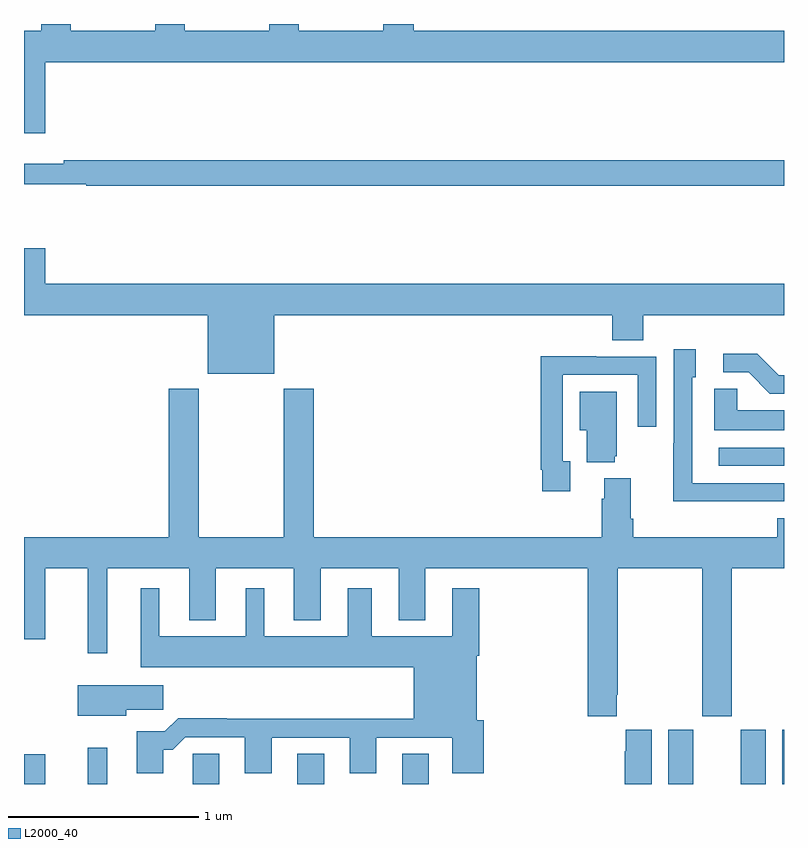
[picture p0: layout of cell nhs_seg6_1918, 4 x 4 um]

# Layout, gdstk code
import gdstk
lib = gdstk.Library(unit=1e-6, precision=1e-09)
def R(c, l, rs):  # rectangles x0, y0, x1, y1
    for r in rs: c.add(gdstk.rectangle(r[:2], r[2:], *l))
def P(c, l, *ps):  # polygons
    for p in ps: c.add(gdstk.Polygon(p, *l))
L2000_40 = (2000, 40)

nhs_seg6_1918 = lib.new_cell('nhs_seg6_1918')
R(nhs_seg6_1918, L2000_40, [(225,979.5,225.112,979.657), (225.335,979.5,225.439,979.69), (225.888,979.5,226.027,979.658), (226.439,979.5,226.579,979.658), (226.991,979.5,227.131,979.658), (228.392,979.5,228.523,979.786), (228.773,979.5,228.904,979.786), (228.992,979.5,229,979.786), (228.657,981.174,229,981.27)])
P(nhs_seg6_1918, L2000_40, [(225.112,983.3),(229,983.3),(229,983.464),(227.051,983.464),(227.051,983.5),(226.891,983.5),(226.891,983.464),(226.446,983.464),(226.446,983.5),(226.291,983.5),(226.291,983.464),(225.846,983.464),(225.846,983.5),(225.691,983.5),(225.691,983.464),(225.246,983.464),(225.246,983.5),(225.091,983.5),(225.091,983.464),(225,983.464),(225,982.926),(225.112,982.926)],
  [(229,982.784),(225.208,982.784),(225.208,982.765),(225,982.765),(225,982.656),(225.328,982.656),(225.328,982.648),(229,982.648)],
  [(226.318,981.968),(228.095,981.968),(228.095,981.835),(228.26,981.835),(228.26,981.968),(229,981.968),(229,982.132),(225.112,982.132),(225.112,982.321),(225,982.321),(225,981.968),(225.968,981.968),(225.968,981.659),(226.318,981.659)],
  [(228.881,980.988),(229,980.988),(229,981.084),(228.516,981.084),(228.516,981.642),(228.535,981.642),(228.535,981.787),(228.42,981.787),(228.42,981.293),(228.418,981.293),(228.418,980.987),(228.881,980.987)],
  [(229,981.651),(228.972,981.651),(228.859,981.764),(228.681,981.764),(228.681,981.666),(228.815,981.666),(228.926,981.555),(229,981.555)],
  [(227.875,981.198),(227.835,981.198),(227.835,981.654),(228.231,981.654),(228.231,981.381),(228.327,981.381),(228.327,981.75),(228.011,981.75),(228.011,981.752),(227.719,981.752),(227.719,981.154),(227.727,981.154),(227.727,981.042),(227.875,981.042)],
  [(229,981.466),(228.753,981.466),(228.753,981.581),(228.632,981.581),(228.632,981.362),(229,981.362)],
  [(225,980.262),(225.112,980.262),(225.112,980.636),(225.335,980.636),(225.335,980.187),(225.439,980.187),(225.439,980.636),(225.869,980.636),(225.869,980.363),(226.009,980.363),(226.009,980.636),(226.421,980.636),(226.421,980.363),(226.561,980.363),(226.561,980.636),(226.973,980.636),(226.973,980.363),(227.113,980.363),(227.113,980.636),(227.966,980.636),(227.966,979.857),(228.121,979.857),(228.121,979.969),(228.126,979.969),(228.126,980.636),(228.571,980.636),(228.571,979.857),(228.726,979.857),(228.726,980.636),(229,980.636),(229,980.899),(228.965,980.899),(228.965,980.8),(228.206,980.8),(228.206,980.896),(228.193,980.896),(228.193,981.109),(228.053,981.109),(228.053,981.002),(228.041,981.002),(228.041,980.8),(226.526,980.8),(226.526,981.58),(226.366,981.58),(226.366,980.8),(225.921,980.8),(225.921,981.58),(225.761,981.58),(225.761,980.8),(225,980.8)],
  [(228.11,981.225),(228.121,981.225),(228.121,981.565),(227.924,981.565),(227.924,981.362),(227.963,981.362),(227.963,981.194),(228.11,981.194)],
  [(225.733,979.679),(225.782,979.679),(225.849,979.746),(226.163,979.746),(226.163,979.557),(226.303,979.557),(226.303,979.743),(226.715,979.743),(226.715,979.557),(226.855,979.557),(226.855,979.743),(227.255,979.743),(227.255,979.557),(227.42,979.557),(227.42,979.836),(227.383,979.836),(227.383,980.174),(227.396,980.174),(227.396,980.53),(227.255,980.53),(227.255,980.278),(226.831,980.278),(226.831,980.53),(226.703,980.53),(226.703,980.278),(226.264,980.278),(226.264,980.53),(226.166,980.53),(226.166,980.278),(225.712,980.278),(225.712,980.53),(225.614,980.53),(225.614,980.114),(227.051,980.114),(227.051,979.844),(226.067,979.844),(226.067,979.847),(225.812,979.847),(225.742,979.777),(225.593,979.777),(225.593,979.557),(225.733,979.557)],
  [(225.538,979.891),(225.733,979.891),(225.733,980.02),(225.284,980.02),(225.284,979.859),(225.538,979.859)],
  [(228.304,979.786),(228.167,979.786),(228.167,979.673),(228.161,979.673),(228.161,979.5),(228.304,979.5)])

lib.write_gds('nhs_seg6_1918.gds')
